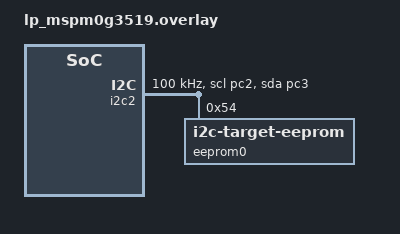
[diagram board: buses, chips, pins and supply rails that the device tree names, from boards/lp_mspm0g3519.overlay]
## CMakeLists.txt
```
# SPDX-License-Identifier: Apache-2.0
cmake_minimum_required(VERSION 3.20.0)
find_package(Zephyr REQUIRED HINTS $ENV{ZEPHYR_BASE})
project(mspm0_i2c_loopback)
target_sources(app PRIVATE src/main.c)
```

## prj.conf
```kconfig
CONFIG_I2C=y
CONFIG_I2C_TARGET=y
CONFIG_I2C_EEPROM_TARGET=y
CONFIG_STDOUT_CONSOLE=y
CONFIG_PRINTK=y
CONFIG_BOOT_BANNER=n
CONFIG_MAIN_STACK_SIZE=2048
```

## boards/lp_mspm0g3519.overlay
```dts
/*
 * I2C controller and target on the same peripheral, joined inside the chip by the
 * loopback bit (I2C_MCR.LPBK, bit 8; the controller configuration register is at
 * offset 0x1228). No wires, no sensor. Pins PC2/PC3 (I2C2) stay configured with
 * pull-ups, as for the BoosterPack position.
 */
#include <zephyr/dt-bindings/pinctrl/mspm0-pinctrl.h>

&pinctrl {
	i2c2_scl_pc2: i2c2_scl_pc2 {
		pinmux = <MSP_PINMUX(76, MSPM0_PIN_FUNCTION_2)>;
		input-enable;
		drive-open-drain;
		bias-pull-up;
	};

	i2c2_sda_pc3: i2c2_sda_pc3 {
		pinmux = <MSP_PINMUX(77, MSPM0_PIN_FUNCTION_2)>;
		input-enable;
		drive-open-drain;
		bias-pull-up;
	};
};

&i2c2 {
	pinctrl-0 = <&i2c2_scl_pc2 &i2c2_sda_pc3>;
	pinctrl-names = "default";
	clock-frequency = <I2C_BITRATE_STANDARD>;
	status = "okay";

	eeprom0: eeprom@54 {
		compatible = "zephyr,i2c-target-eeprom";
		reg = <0x54>;
		address-width = <8>;
		size = <256>;
	};
};
```

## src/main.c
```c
/*
 * MSPM0 I2C controller and target against each other inside one peripheral (loopback bit).
 * The target is Zephyr's I2C EEPROM target at 0x54 (256 bytes, 8 bit address).
 * Prints "I2C-LOOPBACK: PASS" or "I2C-LOOPBACK: FAIL n".
 */
#include <zephyr/kernel.h>
#include <zephyr/device.h>
#include <zephyr/drivers/i2c.h>
#include <zephyr/drivers/i2c/target/eeprom.h>
#include <zephyr/sys/sys_io.h>
#include <zephyr/sys/printk.h>
#include <string.h>

#define I2C_NODE DT_NODELABEL(i2c2)
#define EEPROM_NODE DT_NODELABEL(eeprom0)
#define EEPROM_ADDR 0x54
#define I2C_REG_CCR 0x1228 /* controller configuration */
#define I2C_CCR_LPBK 8      /* bit 8: loopback */

static int fails;

static void check(const char *what, bool ok, int detail)
{
	printk("RESULT %-48s %s (%d)\n", what, ok ? "ok" : "FAIL", detail);
	if (!ok) {
		fails++;
	}
}

static void dump(const char *when)
{
	mem_addr_t b = DT_REG_ADDR(I2C_NODE);

	printk("regs %s: CCR %08x CSR %08x TOAR %08x TCTR %08x\n", when, sys_read32(b + 0x1228),
	       sys_read32(b + 0x1218), sys_read32(b + 0x1250), sys_read32(b + 0x1258));
}

int main(void)
{
	const struct device *i2c = DEVICE_DT_GET(I2C_NODE);
	const struct device *ee = DEVICE_DT_GET(EEPROM_NODE);
	uint8_t pre[16], wr[17], rd[16];
	uint8_t off;
	int rc;

	printk("\nMSPM0 I2C loopback, board %s\n", CONFIG_BOARD_TARGET);
	check("i2c2 ready", device_is_ready(i2c), 0);
	check("eeprom target ready", device_is_ready(ee), 0);
	if (fails) {
		printk("I2C-LOOPBACK: FAIL %d\n", fails);
		return 0;
	}

	rc = i2c_target_driver_register(ee);
	check("i2c_target_driver_register(eeprom 0x54)", rc == 0, rc);
	dump("after target register");
	sys_set_bit(DT_REG_ADDR(I2C_NODE) + I2C_REG_CCR, I2C_CCR_LPBK);
	dump("after LPBK set");

	/* target side preloaded, controller reads it */
	for (int i = 0; i < 16; i++) {
		pre[i] = 0xa0 + i;
	}
	rc = eeprom_target_program(ee, pre, sizeof(pre));
	check("eeprom_target_program", rc == 0, rc);
	off = 0;
	memset(rd, 0, sizeof(rd));
	uint32_t t0 = k_cycle_get_32();

	rc = i2c_write_read(i2c, EEPROM_ADDR, &off, 1, rd, sizeof(rd));
	printk("write-read 1+16 bytes: %u us\n", k_cyc_to_us_floor32(k_cycle_get_32() - t0));
	dump("after first transfer");
	check("controller reads 16 bytes the target holds", rc == 0 && memcmp(rd, pre, 16) == 0, rc);
	printk("read: ");
	for (int i = 0; i < 16; i++) {
		printk("%02x ", rd[i]);
	}
	printk("\n");

	/* controller writes, controller reads back */
	wr[0] = 0x40; /* eeprom offset */
	for (int i = 0; i < 16; i++) {
		wr[1 + i] = 0x31 + 3 * i;
	}
	rc = i2c_write(i2c, wr, sizeof(wr), EEPROM_ADDR);
	check("controller writes 16 bytes at offset 0x40", rc == 0, rc);
	off = 0x40;
	memset(rd, 0, sizeof(rd));
	rc = i2c_write_read(i2c, EEPROM_ADDR, &off, 1, rd, sizeof(rd));
	check("controller reads them back", rc == 0 && memcmp(rd, wr + 1, 16) == 0, rc);

	/* single byte, burst API, and a different offset */
	rc = i2c_reg_write_byte(i2c, EEPROM_ADDR, 0x7f, 0x5a);
	check("i2c_reg_write_byte", rc == 0, rc);
	uint8_t b = 0;

	rc = i2c_reg_read_byte(i2c, EEPROM_ADDR, 0x7f, &b);
	check("i2c_reg_read_byte returns 0x5a", rc == 0 && b == 0x5a, rc);

	/* a 255 byte burst, as large as the controller FIFO path will see */
	uint8_t big[1 + 128], bigrd[128];

	big[0] = 0x00;
	for (int i = 0; i < 128; i++) {
		big[1 + i] = (uint8_t)(i * 5 + 1);
	}
	rc = i2c_write(i2c, big, sizeof(big), EEPROM_ADDR);
	check("controller writes 128 bytes", rc == 0, rc);
	off = 0;
	rc = i2c_write_read(i2c, EEPROM_ADDR, &off, 1, bigrd, sizeof(bigrd));
	check("controller reads 128 bytes back", rc == 0 && memcmp(bigrd, big + 1, 128) == 0, rc);

	/* an address nobody answers */
	rc = i2c_reg_read_byte(i2c, 0x2a, 0, &b);
	check("unused address 0x2a gives an error", rc != 0, rc);

	printk("I2C-LOOPBACK: %s\n", fails ? "FAIL" : "PASS");
	while (1) {
		k_sleep(K_SECONDS(5));
		printk("I2C-LOOPBACK: %s (idle)\n", fails ? "FAIL" : "PASS");
	}
	return 0;
}
```
